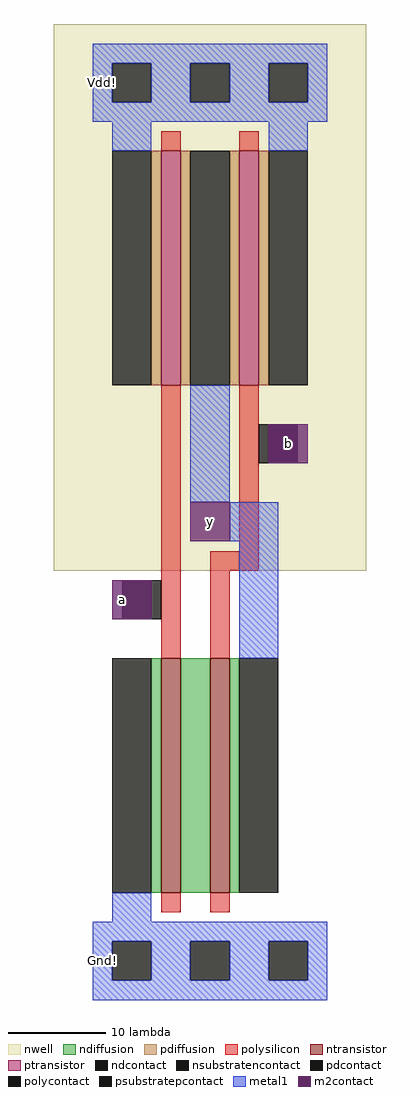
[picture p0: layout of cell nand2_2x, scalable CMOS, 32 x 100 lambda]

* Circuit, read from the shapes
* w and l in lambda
.subckt nand2_2x Gnd! Vdd! a b y
M1 n1 a Gnd! Gnd! nfet w=24 l=2
M2 y b n1 Gnd! nfet w=24 l=2
M3 y a Vdd! Vdd! pfet w=24 l=2
M4 Vdd! b y Vdd! pfet w=24 l=2
.ends

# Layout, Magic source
magic
tech scmos
<< nwell >>
rect -6 40 26 96
<< ntransistor >>
rect 5 7 7 31
rect 10 7 12 31
<< ptransistor >>
rect 5 59 7 83
rect 13 59 15 83
<< ndiffusion >>
rect 4 7 5 31
rect 7 7 10 31
rect 12 7 13 31
<< pdiffusion >>
rect 4 59 5 83
rect 7 59 8 83
rect 12 59 13 83
rect 15 59 16 83
<< ndcontact >>
rect 0 7 4 31
rect 13 7 17 31
<< pdcontact >>
rect 0 59 4 83
rect 8 59 12 83
rect 16 59 20 83
<< psubstratepcontact >>
rect 0 -2 4 2
rect 8 -2 12 2
rect 16 -2 20 2
<< nsubstratencontact >>
rect 0 88 4 92
rect 8 88 12 92
rect 16 88 20 92
<< polysilicon >>
rect 5 83 7 85
rect 13 83 15 85
rect 5 31 7 59
rect 13 42 15 59
rect 10 40 15 42
rect 10 31 12 40
rect 5 5 7 7
rect 10 5 12 7
<< polycontact >>
rect 1 35 5 39
rect 15 51 19 55
<< metal1 >>
rect -2 92 22 94
rect -2 88 0 92
rect 4 88 8 92
rect 12 88 16 92
rect 20 88 22 92
rect -2 86 22 88
rect 0 83 4 86
rect 16 83 20 86
rect 8 47 12 59
rect 12 43 17 47
rect 13 31 17 43
rect 0 4 4 7
rect -2 2 22 4
rect -2 -2 0 2
rect 4 -2 8 2
rect 12 -2 16 2
rect 20 -2 22 2
rect -2 -4 22 -2
<< m2contact >>
rect 16 51 19 55
rect 19 51 20 55
rect 8 43 12 47
rect 0 35 1 39
rect 1 35 4 39
<< labels >>
rlabel m2contact 1 37 1 37 1 a
rlabel m2contact 10 45 10 45 1 y
rlabel m2contact 18 53 18 53 1 b
rlabel metal1 -1 90 -1 90 3 Vdd!
rlabel metal1 -1 0 -1 0 2 Gnd!
<< end >>
